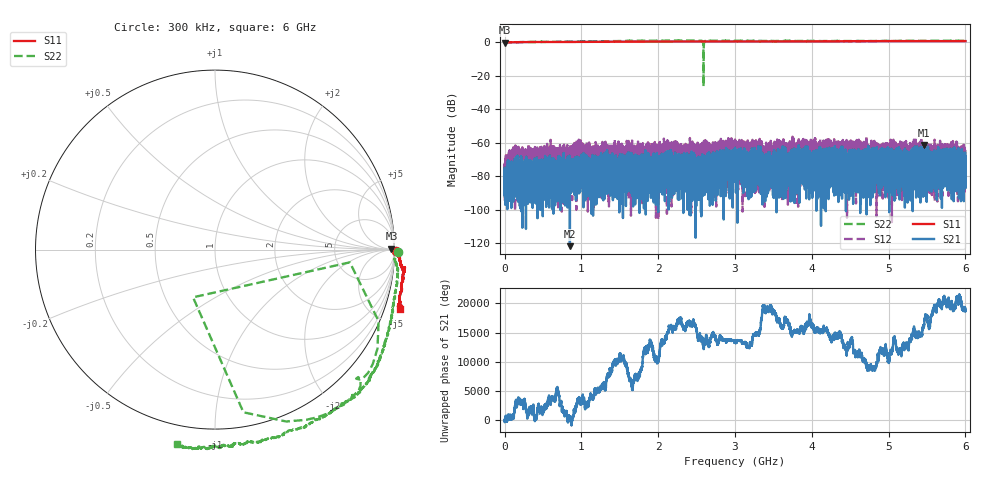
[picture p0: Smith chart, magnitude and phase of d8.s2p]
!Agilent Technologies,N5230C,SG49000117,A.08.50.07
!Agilent N5230C: A.08.50.07
!Date: Thursday, May 16, 2024 19:27:20
!Correction: S11(Full 2 Port(1,2))
!S21(Full 2 Port(1,2))
!S12(Full 2 Port(1,2))
!S22(Full 2 Port(1,2))
!S2P File: Measurements: S11, S21, S12, S22:
# Hz S  MA  R 50
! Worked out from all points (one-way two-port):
!   20001 points, 300 kHz to 6 GHz, reference 50 ohm
!   highest |S21| = -61.32 dB at 5.455 GHz (marker M1); lowest = -121.7 dB at 850.2 MHz (marker M2)
!   lowest |S11| = -0.1 dB at 600 kHz (marker M3), VSWR 119.00, Z = 5.51e+03 + j1.55e+03 ohm
!   |S11| at or under -10 dB: nowhere
!   |S22| runs from -26.4 to 1.1 dB; largest |S21 - S12| = 0.0019
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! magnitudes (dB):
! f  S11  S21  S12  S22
! 300 kHz  0.1  -74.9  -77.8  0.2
! 600 kHz  -0.1  -86.8  -73.7  -0.3
! 84.9 MHz  0.0  -75.7  -72.1  0.0
! 850.2 MHz  0.2  -121.7  -70.3  0.4
! 1 GHz  0.3  -78.6  -71.3  0.4
! 1.152 GHz  0.3  -76.7  -65.0  0.5
! 1.299 GHz  0.3  -72.5  -75.9  0.6
! 1.485 GHz  0.4  -91.1  -77.6  0.7
! 2 GHz  0.5  -81.7  -106.0  1.0
! 2.136 GHz  0.5  -66.8  -64.9  1.1
! 2.544 GHz  0.5  -81.0  -74.1  1.0
! 3 GHz  0.5  -69.9  -60.7  0.9
! 3.315 GHz  0.5  -75.4  -64.0  0.8
! 3.378 GHz  0.5  -78.0  -74.1  0.9
! 3.629 GHz  0.5  -67.8  -64.1  0.8
! 3.772 GHz  0.5  -63.3  -69.2  0.8
! 3.84 GHz  0.5  -65.0  -78.0  0.8
! 4 GHz  0.5  -67.8  -61.7  0.8
! 5 GHz  0.7  -72.1  -76.7  0.8
! 5.455 GHz  0.7  -61.3  -60.3  0.9
! 5.966 GHz  0.7  -72.4  -71.2  0.9
! 6 GHz  0.7  -70.5  -64.2  0.9
